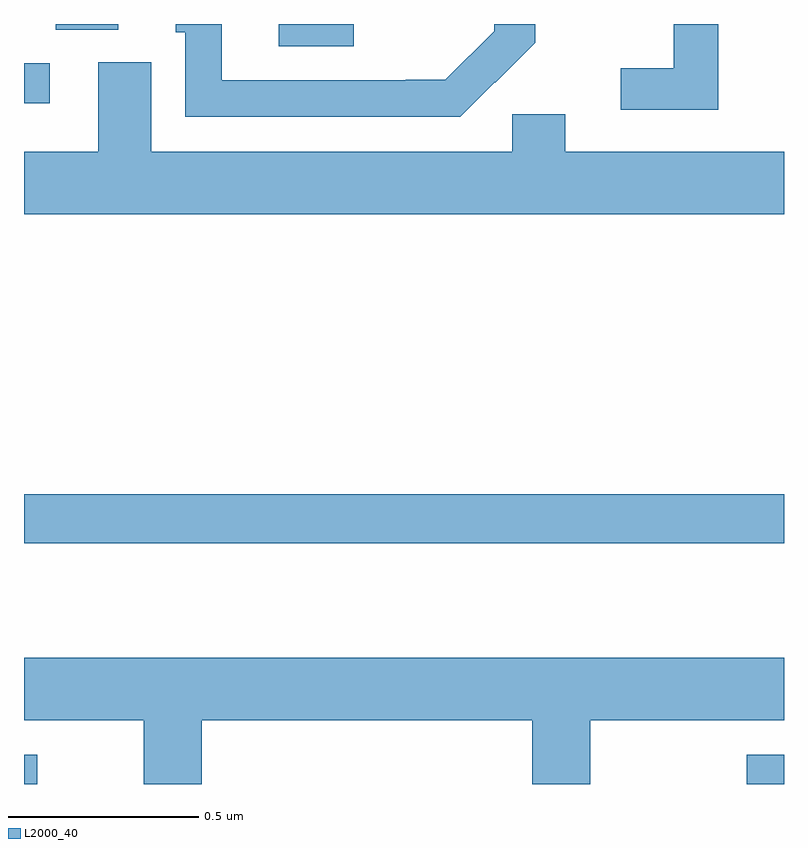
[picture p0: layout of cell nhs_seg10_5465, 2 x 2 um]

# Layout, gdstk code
import gdstk
lib = gdstk.Library(unit=1e-6, precision=1e-09)
def R(c, l, rs):  # rectangles x0, y0, x1, y1
    for r in rs: c.add(gdstk.rectangle(r[:2], r[2:], *l))
def P(c, l, *ps):  # polygons
    for p in ps: c.add(gdstk.Polygon(p, *l))
L2000_40 = (2000, 40)

nhs_seg10_5465 = lib.new_cell('nhs_seg10_5465')
R(nhs_seg10_5465, L2000_40, [(179,1281.5,179.035,1281.577), (180.902,1281.5,181,1281.577), (179,1282.134,181,1282.262), (179,1283.292,179.068,1283.397), (179.67,1283.442,179.868,1283.5), (179.084,1283.485,179.248,1283.5)])
P(nhs_seg10_5465, L2000_40, [(180.827,1283.5),(180.71,1283.5),(180.71,1283.383),(180.57,1283.383),(180.57,1283.274),(180.827,1283.274)],
  [(180.239,1283.347),(180.24,1283.346),(180.345,1283.451),(180.345,1283.5),(180.237,1283.5),(180.237,1283.481),(180.109,1283.353),(180.005,1283.353),(180.005,1283.352),(179.521,1283.352),(179.521,1283.5),(179.399,1283.5),(179.399,1283.478),(179.424,1283.478),(179.424,1283.256),(180.148,1283.256)],
  [(181,1283.164),(180.424,1283.164),(180.424,1283.262),(180.285,1283.262),(180.285,1283.164),(179.335,1283.164),(179.335,1283.4),(179.195,1283.4),(179.195,1283.164),(179,1283.164),(179,1283),(181,1283)],
  [(179.468,1281.668),(180.338,1281.668),(180.338,1281.5),(180.49,1281.5),(180.49,1281.668),(181,1281.668),(181,1281.832),(179,1281.832),(179,1281.668),(179.315,1281.668),(179.315,1281.5),(179.468,1281.5)])

lib.write_gds('nhs_seg10_5465.gds')
